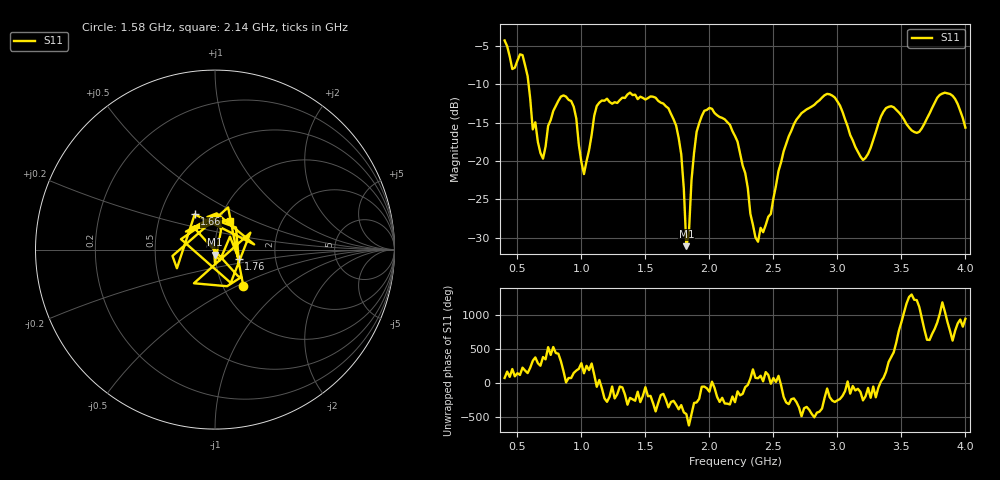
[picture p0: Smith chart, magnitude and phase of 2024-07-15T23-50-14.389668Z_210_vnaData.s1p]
!Created with skrf (http://scikit-rf.org).
# Hz S RI R 50.0
!freq ReS11 ImS11
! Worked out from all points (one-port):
!   181 points, 400 MHz to 4 GHz, reference 50 ohm
!   lowest |S11| = -31.1 dB at 1.82 GHz (marker M1), VSWR 1.06, Z = 49.9 - j2.78 ohm
!   |S11| at or under -10 dB: 587 MHz to end of sweep
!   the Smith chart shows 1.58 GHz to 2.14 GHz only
!   S11 on the Smith chart (normalised r, x): 1.58 GHz: 1.24, -0.54; 1.66 GHz: 0.74, +0.31; 1.76 GHz: 1.30, -0.13; 2.14 GHz: 1.12, +0.37
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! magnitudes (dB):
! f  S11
! 400 MHz  -4.3
! 460 MHz  -8.0
! 540 MHz  -6.2
! 620 MHz  -15.9
! 700 MHz  -19.7
! 860 MHz  -11.5
! 940 MHz  -12.9
! 1.02 GHz  -21.7
! 1.12 GHz  -12.8
! 1.3 GHz  -12.1
! 1.58 GHz  -11.8
! 1.66 GHz  -12.9
! 1.76 GHz  -17.0
! 1.8 GHz  -23.6
! 1.82 GHz  -31.1
! 1.88 GHz  -19.0
! 1.92 GHz  -15.1
! 2.14 GHz  -15.0
! 2.2 GHz  -16.8
! 2.38 GHz  -30.5
! 2.66 GHz  -15.2
! 2.94 GHz  -11.3
! 3.1 GHz  -16.6
! 3.2 GHz  -19.9
! 3.38 GHz  -13.1
! 3.56 GHz  -15.6
! 3.84 GHz  -11.1
! 4 GHz  -15.7
